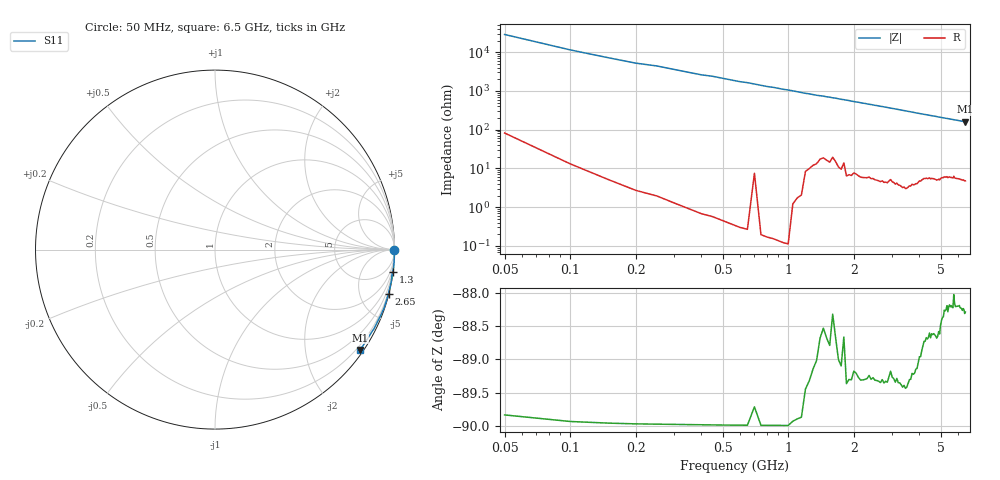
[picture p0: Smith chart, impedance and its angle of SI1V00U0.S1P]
! (c) 1999  Infineon Technologies AG, Munich
! Infineon Technologies  Discrete & RF Semiconductors
! BAT24-02LS
! Si Schottky Diode in TSSLP-2
! VR = 1 V
! S-Parameters:  July  2007
# GHz  S  MA  R  50
!  f  S11
! GHz  MAG  ANG
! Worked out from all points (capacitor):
!   130 points, 50 MHz to 6.5 GHz, reference 50 ohm
!   read as one part to ground: C = 139 fF near 50 MHz
!   lowest |Z| = 160 ohm at 6.5 GHz (marker M1)
!   S11 on the Smith chart (normalised r, x): 50 MHz: open; 1.3 GHz: 0, -16; 2.65 GHz: 0.09, -8.03; 6.5 GHz: 0.10, -3.20
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0.05  1 -0.2
0.2  1 -1.1
0.25  1 -1.3
0.9  1 -4.9
1.3  0.9982 -7.1
1.6  0.9956 -8.6
1.7  0.9972 -9.1
1.8  0.9961 -9.6
1.9  0.9979 -10.1
1.95  0.9978 -10.5
2.1  0.9975 -11.2
2.5  0.9972 -13.4
2.65  0.9972 -14.2
2.7  0.997 -14.4
2.85  0.997 -15.3
3  0.9965 -16.0
3.3  0.9967 -17.7
3.75  0.9953 -20.2
4.1  0.9926 -22.2
4.25  0.9914 -22.9
4.9  0.9891 -26.4
5.15  0.9868 -27.8
5.6  0.9843 -30.0
5.7  0.9844 -30.6
5.75  0.9826 -30.7
5.8  0.9836 -31.1
5.95  0.9835 -31.9
6.5  0.9832 -34.7
